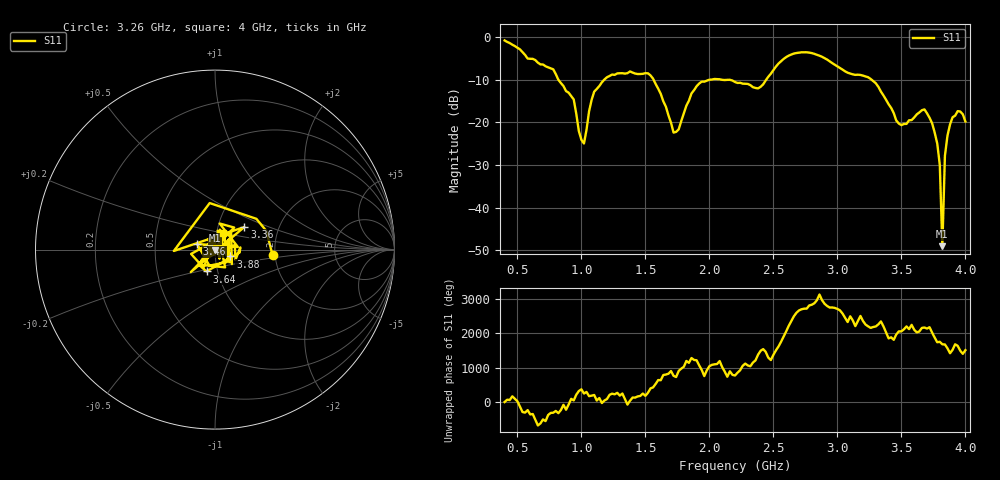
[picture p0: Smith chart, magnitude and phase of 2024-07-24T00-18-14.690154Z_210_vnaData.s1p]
!Created with skrf (http://scikit-rf.org).
# Hz S RI R 50.0
!freq ReS11 ImS11
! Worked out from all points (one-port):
!   181 points, 400 MHz to 4 GHz, reference 50 ohm
!   lowest |S11| = -49.1 dB at 3.82 GHz (marker M1), VSWR 1.01, Z = 49.8 - j0.291 ohm
!   |S11| at or under -10 dB: 819.6 MHz to 1.178 GHz (358.8 MHz wide, 35.9 % of centre); 1.564 GHz to 2 GHz (436.1 MHz wide, 24.5 % of centre); 3.267 GHz to end of sweep (the widest 3 of 4)
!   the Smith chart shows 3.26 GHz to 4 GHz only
!   S11 on the Smith chart (normalised r, x): 3.26 GHz: 1.94, -0.14; 3.36 GHz: 1.34, +0.35; 3.46 GHz: 0.82, +0.05; 3.64 GHz: 0.88, -0.22; 3.88 GHz: 1.19, -0.09; 4 GHz: 1.07, +0.20
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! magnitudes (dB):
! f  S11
! 400 MHz  -0.8
! 860 MHz  -11.5
! 940 MHz  -14.6
! 980 MHz  -22.1
! 1.02 GHz  -25.0
! 1.1 GHz  -12.8
! 1.3 GHz  -8.5
! 1.54 GHz  -9.0
! 1.72 GHz  -22.4
! 1.76 GHz  -21.7
! 1.92 GHz  -10.9
! 2.2 GHz  -10.5
! 2.38 GHz  -12.0
! 2.66 GHz  -3.9
! 3.1 GHz  -8.5
! 3.26 GHz  -9.8
! 3.36 GHz  -13.7
! 3.46 GHz  -19.6
! 3.56 GHz  -19.5
! 3.64 GHz  -17.7
! 3.7 GHz  -17.9
! 3.78 GHz  -25.0
! 3.8 GHz  -30.0
! 3.82 GHz  -49.1
! 3.84 GHz  -27.9
! 3.88 GHz  -20.5
! 3.94 GHz  -17.4
! 4 GHz  -19.8
